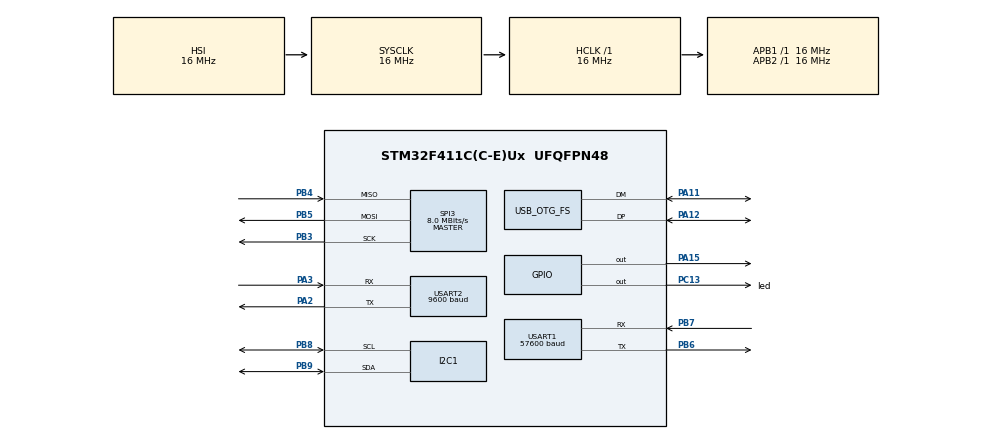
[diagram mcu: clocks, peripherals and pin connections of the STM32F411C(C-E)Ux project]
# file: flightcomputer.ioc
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Dma.Request0=USART2_RX
Dma.Request1=USART1_TX
Dma.USART1_TX.1.Direction=DMA_MEMORY_TO_PERIPH
Dma.USART1_TX.1.FIFOMode=DMA_FIFOMODE_DISABLE
Dma.USART1_TX.1.Instance=DMA2_Stream7
Dma.USART1_TX.1.MemDataAlignment=DMA_MDATAALIGN_BYTE
Dma.USART1_TX.1.MemInc=DMA_MINC_ENABLE
Dma.USART1_TX.1.Mode=DMA_CIRCULAR
Dma.USART1_TX.1.PeriphDataAlignment=DMA_PDATAALIGN_BYTE
Dma.USART1_TX.1.PeriphInc=DMA_PINC_DISABLE
Dma.USART1_TX.1.Priority=DMA_PRIORITY_LOW
Dma.USART2_RX.0.Direction=DMA_PERIPH_TO_MEMORY
Dma.USART2_RX.0.FIFOMode=DMA_FIFOMODE_DISABLE
Dma.USART2_RX.0.Instance=DMA1_Stream5
Dma.USART2_RX.0.MemDataAlignment=DMA_MDATAALIGN_BYTE
Dma.USART2_RX.0.MemInc=DMA_MINC_ENABLE
Dma.USART2_RX.0.Mode=DMA_CIRCULAR
Dma.USART2_RX.0.PeriphDataAlignment=DMA_PDATAALIGN_BYTE
Dma.USART2_RX.0.PeriphInc=DMA_PINC_DISABLE
Dma.USART2_RX.0.Priority=DMA_PRIORITY_LOW
FATFS._MAX_SS=4096
FATFS._USE_LFN=1
I2C1.I2C_Mode=I2C_Fast
Mcu.Family=STM32F4
Mcu.Name=STM32F411C(C-E)Ux
Mcu.Package=UFQFPN48
NVIC.DMA1_Stream5_IRQn=true\:0\:0\:false\:false\:true\:false\:true\:true
NVIC.DMA2_Stream7_IRQn=true\:0\:0\:false\:false\:true\:false\:true\:true
NVIC.OTG_FS_IRQn=true\:0\:0\:false\:false\:true\:false\:true\:true
NVIC.PriorityGroup=NVIC_PRIORITYGROUP_4
PA11.Mode=Device_Only
PA11.Signal=USB_OTG_FS_DM
PA12.Mode=Device_Only
PA12.Signal=USB_OTG_FS_DP
PA13.Mode=Serial_Wire
PA13.Signal=SYS_JTMS-SWDIO
PA14.Mode=Serial_Wire
PA14.Signal=SYS_JTCK-SWCLK
PA15.GPIO_PuPd=GPIO_NOPULL
PA15.Signal=GPIO_Output
PA2.Mode=Asynchronous
PA2.Signal=USART2_TX
PA3.Mode=Asynchronous
PA3.Signal=USART2_RX
PB3.GPIO_PuPd=GPIO_NOPULL
PB3.Mode=Full_Duplex_Master
PB3.Signal=SPI3_SCK
PB4.GPIO_PuPd=GPIO_NOPULL
PB4.Mode=Full_Duplex_Master
PB4.Signal=SPI3_MISO
PB5.GPIO_PuPd=GPIO_NOPULL
PB5.Mode=Full_Duplex_Master
PB5.Signal=SPI3_MOSI
PB6.Mode=Asynchronous
PB6.Signal=USART1_TX
PB7.Mode=Asynchronous
PB7.Signal=USART1_RX
PB8.Mode=I2C
PB8.Signal=I2C1_SCL
PB9.Mode=I2C
PB9.Signal=I2C1_SDA
PC13-ANTI_TAMP.GPIO_Label=led
PC13-ANTI_TAMP.Signal=GPIO_Output
PH0\ -\ OSC_IN.Mode=HSE-External-Oscillator
PH0\ -\ OSC_IN.Signal=RCC_OSC_IN
PH1\ -\ OSC_OUT.Mode=HSE-External-Oscillator
PH1\ -\ OSC_OUT.Signal=RCC_OSC_OUT
ProjectManager.HeapSize=0x200
ProjectManager.StackSize=0x400
ProjectManager.TargetToolchain=CMake
RCC.48MHZClocksFreq_Value=48000000
RCC.AHBFreq_Value=16000000
RCC.APB1Freq_Value=16000000
RCC.APB2Freq_Value=16000000
RCC.CortexFreq_Value=16000000
RCC.HSE_VALUE=25000000
RCC.HSI_VALUE=16000000
RCC.LSE_VALUE=32768
RCC.PLLM=15
RCC.PLLN=144
RCC.PLLQ=5
RCC.SYSCLKFreq_VALUE=16000000
RCC.VCOOutputFreq_Value=240000000
SPI3.CalculateBaudRate=8.0 MBits/s
SPI3.Direction=SPI_DIRECTION_2LINES
SPI3.Mode=SPI_MODE_MASTER
SPI3.VirtualType=VM_MASTER
USART1.BaudRate=57600
USART1.Mode=MODE_TX
USART1.OverSampling=UART_OVERSAMPLING_16
USART1.VirtualMode=VM_ASYNC
USART1.WordLength=WORDLENGTH_8B
USART2.BaudRate=9600
USART2.VirtualMode=VM_ASYNC
USB_DEVICE.CLASS_NAME_FS=CDC
USB_DEVICE.VirtualMode=Cdc
USB_DEVICE.VirtualModeFS=Cdc_FS
USB_OTG_FS.VirtualMode=Device_Only
VP_FATFS_VS_Generic.Mode=User_defined
VP_USB_DEVICE_VS_USB_DEVICE_CDC_FS.Mode=CDC_FS
board=custom

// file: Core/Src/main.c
/* USER CODE BEGIN Header */
/**
 ******************************************************************************
 * @file           : main.c
 * @brief          : Main program body
 ******************************************************************************
 * @attention
 *
 * Copyright (c) 2024 STMicroelectronics.
 * All rights reserved.
 *
 * This software is licensed under terms that can be found in the LICENSE file
 * in the root directory of this software component.
 * If no LICENSE file comes with this software, it is provided AS-IS.
 *
 ******************************************************************************
 */
/* USER CODE END Header */
#include "main.h"
#include "fatfs.h"
#include "usb_device.h"

/* USER CODE BEGIN Includes */
#include "usbd_cdc.h"
#include "string.h"
#include <stdio.h>
#include <stdlib.h>
#include <math.h>
#include "gps.h"
#include "fatfs_sd.h"
#include "sdCard.h"
#include "bmp280.h"
#include "bmp_sensor.h"

/* USER CODE END Includes */

I2C_HandleTypeDef hi2c1;

SPI_HandleTypeDef hspi3;

UART_HandleTypeDef huart1;
UART_HandleTypeDef huart2;
DMA_HandleTypeDef hdma_usart1_tx;
DMA_HandleTypeDef hdma_usart2_rx;

/* USER CODE BEGIN PV */
uint32_t lastTransmitTime = 0;
/* USER CODE END PV */

void SystemClock_Config(void);
static void MX_GPIO_Init(void);
static void MX_DMA_Init(void);
static void MX_USART2_UART_Init(void);
static void MX_SPI3_Init(void);
static void MX_USART1_UART_Init(void);
static void MX_I2C1_Init(void);
/* USER CODE BEGIN PFP */
void CDC_Transmit_FS(uint8_t *data, uint16_t length);
/* USER CODE END PFP */

/* USER CODE BEGIN 0 */
void HAL_UART_RxCpltCallback(UART_HandleTypeDef *huart2);

void HAL_UART_TxCpltCallback(UART_HandleTypeDef *huart1)
{
    // cdc_Transmit("hello world");
    if (HAL_GetTick() - lastTransmitTime <= 1000)
    {
        HAL_UART_DMAPause(huart1);
    }
    // add live altitude data later
}

BMP280_HandleTypedef bmp280;

float pressure, temperature, humidity;

uint8_t Data[256];
/* USER CODE END 0 */

int main(void)
{

    /* MCU Configuration--------------------------------------------------------*/

    /* Reset of all peripherals, Initializes the Flash interface and the Systick. */
    HAL_Init();

    /* Configure the system clock */
    SystemClock_Config();

    /* Initialize all configured peripherals */
    MX_GPIO_Init();
    MX_DMA_Init();
    MX_USART2_UART_Init();
    MX_USB_DEVICE_Init();
    MX_SPI3_Init();
    MX_FATFS_Init();
    MX_USART1_UART_Init();
    MX_I2C1_Init();
    /* USER CODE BEGIN 2 */

    HAL_UART_Receive_DMA(&huart2, NEO_GPS.data, 700);

    /* USER CODE END 2 */

    /* Infinite loop */
    while (1)
    {
        /* USER CODE BEGIN 3 */
        if (HAL_GetTick() - lastTransmitTime >= 1000)
        {
            if (lastTransmitTime == 0)
            {
                // SD card reader & Bmp280 init
                sd_Start_Up();
                Bmp_Init(&hi2c1, &bmp280);
            }
            Gps_Data_Parse(&huart1, lastTransmitTime);
            Bmp_Read_Data(&bmp280, &temperature, &pressure, &humidity);

            HAL_GPIO_TogglePin(led_GPIO_Port, led_Pin); // toggle LED
            // cdc_Transmit(NEO_GPS.data);

            // resume DMA transmission
            HAL_UART_DMAResume(&huart1);

            // get time
            lastTransmitTime = HAL_GetTick();
        }
    }
    /* USER CODE END 3 */
}

void SystemClock_Config(void)
{
    RCC_OscInitTypeDef RCC_OscInitStruct = {0};
    RCC_ClkInitTypeDef RCC_ClkInitStruct = {0};

    /** Configure the main internal regulator output voltage
     */
    __HAL_RCC_PWR_CLK_ENABLE();
    __HAL_PWR_VOLTAGESCALING_CONFIG(PWR_REGULATOR_VOLTAGE_SCALE1);

    /** Initializes the RCC Oscillators according to the specified parameters
     * in the RCC_OscInitTypeDef structure.
     */
    RCC_OscInitStruct.OscillatorType = RCC_OSCILLATORTYPE_HSI | RCC_OSCILLATORTYPE_HSE;
    RCC_OscInitStruct.HSEState = RCC_HSE_ON;
    RCC_OscInitStruct.HSIState = RCC_HSI_ON;
    RCC_OscInitStruct.HSICalibrationValue = RCC_HSICALIBRATION_DEFAULT;
    RCC_OscInitStruct.PLL.PLLState = RCC_PLL_ON;
    RCC_OscInitStruct.PLL.PLLSource = RCC_PLLSOURCE_HSE;
    RCC_OscInitStruct.PLL.PLLM = 15;
    RCC_OscInitStruct.PLL.PLLN = 144;
    RCC_OscInitStruct.PLL.PLLP = RCC_PLLP_DIV2;
    RCC_OscInitStruct.PLL.PLLQ = 5;
    if (HAL_RCC_OscConfig(&RCC_OscInitStruct) != HAL_OK)
    {
        Error_Handler();
    }

    /** Initializes the CPU, AHB and APB buses clocks
     */
    RCC_ClkInitStruct.ClockType = RCC_CLOCKTYPE_HCLK | RCC_CLOCKTYPE_SYSCLK | RCC_CLOCKTYPE_PCLK1 | RCC_CLOCKTYPE_PCLK2;
    RCC_ClkInitStruct.SYSCLKSource = RCC_SYSCLKSOURCE_HSI;
    RCC_ClkInitStruct.AHBCLKDivider = RCC_SYSCLK_DIV1;
    RCC_ClkInitStruct.APB1CLKDivider = RCC_HCLK_DIV1;
    RCC_ClkInitStruct.APB2CLKDivider = RCC_HCLK_DIV1;

    if (HAL_RCC_ClockConfig(&RCC_ClkInitStruct, FLASH_LATENCY_0) != HAL_OK)
    {
        Error_Handler();
    }
}

static void MX_I2C1_Init(void)
{

    hi2c1.Instance = I2C1;
    hi2c1.Init.ClockSpeed = 400000;
    hi2c1.Init.DutyCycle = I2C_DUTYCYCLE_2;
    hi2c1.Init.OwnAddress1 = 0;
    hi2c1.Init.AddressingMode = I2C_ADDRESSINGMODE_7BIT;
    hi2c1.Init.DualAddressMode = I2C_DUALADDRESS_DISABLE;
    hi2c1.Init.OwnAddress2 = 0;
    hi2c1.Init.GeneralCallMode = I2C_GENERALCALL_DISABLE;
    hi2c1.Init.NoStretchMode = I2C_NOSTRETCH_DISABLE;
    if (HAL_I2C_Init(&hi2c1) != HAL_OK)
    {
        Error_Handler();
    }
}

static void MX_SPI3_Init(void)
{

    /* SPI3 parameter configuration*/
    hspi3.Instance = SPI3;
    hspi3.Init.Mode = SPI_MODE_MASTER;
    hspi3.Init.Direction = SPI_DIRECTION_2LINES;
    hspi3.Init.DataSize = SPI_DATASIZE_8BIT;
    hspi3.Init.CLKPolarity = SPI_POLARITY_LOW;
    hspi3.Init.CLKPhase = SPI_PHASE_1EDGE;
    hspi3.Init.NSS = SPI_NSS_SOFT;
    hspi3.Init.BaudRatePrescaler = SPI_BAUDRATEPRESCALER_2;
    hspi3.Init.FirstBit = SPI_FIRSTBIT_MSB;
    hspi3.Init.TIMode = SPI_TIMODE_DISABLE;
    hspi3.Init.CRCCalculation = SPI_CRCCALCULATION_DISABLE;
    hspi3.Init.CRCPolynomial = 10;
    if (HAL_SPI_Init(&hspi3) != HAL_OK)
    {
        Error_Handler();
    }
}

static void MX_USART1_UART_Init(void)
{

    huart1.Instance = USART1;
    huart1.Init.BaudRate = 57600;
    huart1.Init.WordLength = UART_WORDLENGTH_8B;
    huart1.Init.StopBits = UART_STOPBITS_1;
    huart1.Init.Parity = UART_PARITY_NONE;
    huart1.Init.Mode = UART_MODE_TX;
    huart1.Init.HwFlowCtl = UART_HWCONTROL_NONE;
    huart1.Init.OverSampling = UART_OVERSAMPLING_16;
    if (HAL_UART_Init(&huart1) != HAL_OK)
    {
        Error_Handler();
    }
}

static void MX_USART2_UART_Init(void)
{

    huart2.Instance = USART2;
    huart2.Init.BaudRate = 9600;
    huart2.Init.WordLength = UART_WORDLENGTH_8B;
    huart2.Init.StopBits = UART_STOPBITS_1;
    huart2.Init.Parity = UART_PARITY_NONE;
    huart2.Init.Mode = UART_MODE_TX_RX;
    huart2.Init.HwFlowCtl = UART_HWCONTROL_NONE;
    huart2.Init.OverSampling = UART_OVERSAMPLING_16;
    if (HAL_UART_Init(&huart2) != HAL_OK)
    {
        Error_Handler();
    }
}

static void MX_DMA_Init(void)
{

    /* DMA controller clock enable */
    __HAL_RCC_DMA1_CLK_ENABLE();
    __HAL_RCC_DMA2_CLK_ENABLE();

    /* DMA interrupt init */
    /* DMA1_Stream5_IRQn interrupt configuration */
    HAL_NVIC_SetPriority(DMA1_Stream5_IRQn, 0, 0);
    HAL_NVIC_EnableIRQ(DMA1_Stream5_IRQn);
    /* DMA2_Stream7_IRQn interrupt configuration */
    HAL_NVIC_SetPriority(DMA2_Stream7_IRQn, 0, 0);
    HAL_NVIC_EnableIRQ(DMA2_Stream7_IRQn);
}

static void MX_GPIO_Init(void)
{
    GPIO_InitTypeDef GPIO_InitStruct = {0};

    /* GPIO Ports Clock Enable */
    __HAL_RCC_GPIOC_CLK_ENABLE();
    __HAL_RCC_GPIOH_CLK_ENABLE();
    __HAL_RCC_GPIOA_CLK_ENABLE();
    __HAL_RCC_GPIOB_CLK_ENABLE();

    /*Configure GPIO pin Output Level */
    HAL_GPIO_WritePin(led_GPIO_Port, led_Pin, GPIO_PIN_RESET);

    /*Configure GPIO pin Output Level */
    HAL_GPIO_WritePin(GPIOA, GPIO_PIN_15, GPIO_PIN_RESET);

    /*Configure GPIO pin : led_Pin */
    GPIO_InitStruct.Pin = led_Pin;
    GPIO_InitStruct.Mode = GPIO_MODE_OUTPUT_PP;
    GPIO_InitStruct.Pull = GPIO_NOPULL;
    GPIO_InitStruct.Speed = GPIO_SPEED_FREQ_LOW;
    HAL_GPIO_Init(led_GPIO_Port, &GPIO_InitStruct);

    /*Configure GPIO pin : PA15 */
    GPIO_InitStruct.Pin = GPIO_PIN_15;
    GPIO_InitStruct.Mode = GPIO_MODE_OUTPUT_PP;
    GPIO_InitStruct.Pull = GPIO_NOPULL;
    GPIO_InitStruct.Speed = GPIO_SPEED_FREQ_LOW;
    HAL_GPIO_Init(GPIOA, &GPIO_InitStruct);

}

void Error_Handler(void)
{
    __disable_irq();
    while (1)
    {
    }
}
